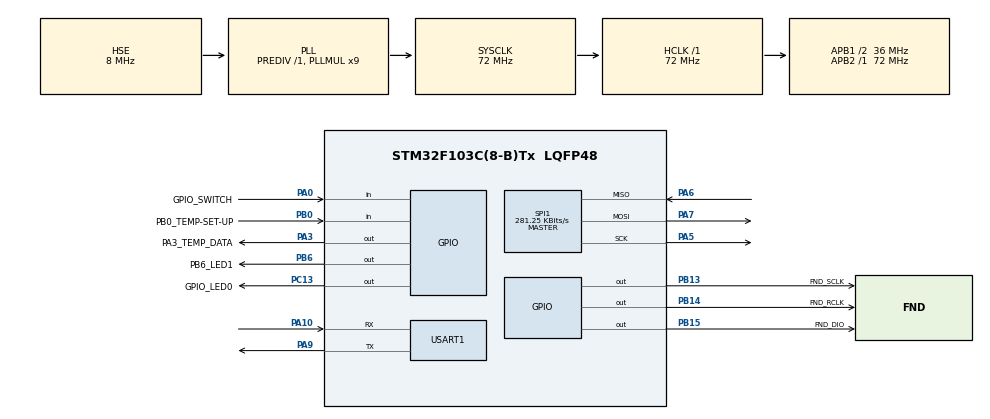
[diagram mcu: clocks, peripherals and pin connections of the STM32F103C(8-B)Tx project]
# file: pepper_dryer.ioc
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Mcu.Family=STM32F1
Mcu.Name=STM32F103C(8-B)Tx
Mcu.Package=LQFP48
NVIC.PriorityGroup=NVIC_PRIORITYGROUP_4
NVIC.TIM2_IRQn=true\:0\:0\:false\:false\:true\:true\:true\:true
PA0-WKUP.GPIO_Label=GPIO_SWITCH
PA0-WKUP.GPIO_PuPd=GPIO_PULLUP
PA0-WKUP.Signal=GPIO_Input
PA10.Mode=Asynchronous
PA10.Signal=USART1_RX
PA13.Mode=Serial_Wire
PA13.Signal=SYS_JTMS-SWDIO
PA14.Mode=Serial_Wire
PA14.Signal=SYS_JTCK-SWCLK
PA3.GPIO_Label=PA3_TEMP_DATA
PA3.GPIO_PuPd=GPIO_PULLUP
PA3.PinState=GPIO_PIN_SET
PA3.Signal=GPIO_Output
PA5.Mode=Full_Duplex_Master
PA5.Signal=SPI1_SCK
PA6.Mode=Full_Duplex_Master
PA6.Signal=SPI1_MISO
PA7.Mode=Full_Duplex_Master
PA7.Signal=SPI1_MOSI
PA9.Mode=Asynchronous
PA9.Signal=USART1_TX
PB0.GPIO_Label=PB0_TEMP-SET-UP
PB0.GPIO_PuPd=GPIO_PULLUP
PB0.Signal=GPIO_Input
PB13.GPIO_Label=FND_SCLK
PB13.GPIO_PuPd=GPIO_PULLUP
PB13.GPIO_Speed=GPIO_SPEED_FREQ_HIGH
PB13.PinState=GPIO_PIN_SET
PB13.Signal=GPIO_Output
PB14.GPIO_Label=FND_RCLK
PB14.GPIO_ModeDefaultOutputPP=GPIO_MODE_OUTPUT_PP
PB14.GPIO_PuPd=GPIO_PULLUP
PB14.GPIO_Speed=GPIO_SPEED_FREQ_HIGH
PB14.PinState=GPIO_PIN_SET
PB14.Signal=GPIO_Output
PB15.GPIO_Label=FND_DIO
PB15.GPIO_PuPd=GPIO_PULLUP
PB15.GPIO_Speed=GPIO_SPEED_FREQ_HIGH
PB15.PinState=GPIO_PIN_SET
PB15.Signal=GPIO_Output
PB6.GPIO_Label=PB6_LED1
PB6.GPIO_ModeDefaultOutputPP=GPIO_MODE_OUTPUT_PP
PB6.GPIO_PuPd=GPIO_PULLUP
PB6.PinState=GPIO_PIN_SET
PB6.Signal=GPIO_Output
PC13-TAMPER-RTC.GPIO_Label=GPIO_LED0
PC13-TAMPER-RTC.GPIO_ModeDefaultOutputPP=GPIO_MODE_OUTPUT_PP
PC13-TAMPER-RTC.GPIO_PuPd=GPIO_PULLDOWN
PC13-TAMPER-RTC.GPIO_Speed=GPIO_SPEED_FREQ_HIGH
PC13-TAMPER-RTC.PinState=GPIO_PIN_SET
PC13-TAMPER-RTC.Signal=GPIO_Output
PC14-OSC32_IN.Mode=LSE-External-Oscillator
PC14-OSC32_IN.Signal=RCC_OSC32_IN
PC15-OSC32_OUT.Mode=LSE-External-Oscillator
PC15-OSC32_OUT.Signal=RCC_OSC32_OUT
PD0-OSC_IN.Mode=HSE-External-Oscillator
PD0-OSC_IN.Signal=RCC_OSC_IN
PD1-OSC_OUT.Mode=HSE-External-Oscillator
PD1-OSC_OUT.Signal=RCC_OSC_OUT
ProjectManager.HeapSize=0x200
ProjectManager.StackSize=0x400
ProjectManager.TargetToolchain=STM32CubeIDE
RCC.AHBFreq_Value=72000000
RCC.APB1CLKDivider=RCC_HCLK_DIV2
RCC.APB1Freq_Value=36000000
RCC.APB1TimFreq_Value=72000000
RCC.APB2Freq_Value=72000000
RCC.APB2TimFreq_Value=72000000
RCC.HCLKFreq_Value=72000000
RCC.PLLMUL=RCC_PLL_MUL9
RCC.PLLSourceVirtual=RCC_PLLSOURCE_HSE
RCC.SYSCLKFreq_VALUE=72000000
RCC.SYSCLKSource=RCC_SYSCLKSOURCE_PLLCLK
RCC.USBFreq_Value=72000000
SPI1.BaudRatePrescaler=SPI_BAUDRATEPRESCALER_256
SPI1.CalculateBaudRate=281.25 KBits/s
SPI1.Direction=SPI_DIRECTION_2LINES
SPI1.Mode=SPI_MODE_MASTER
SPI1.VirtualType=VM_MASTER
TIM2.AutoReloadPreload=TIM_AUTORELOAD_PRELOAD_ENABLE
TIM2.Period=0xffff
TIM2.Prescaler=(72-1)
USART1.VirtualMode=VM_ASYNC
VP_TIM2_VS_ClockSourceINT.Mode=Internal
board=custom

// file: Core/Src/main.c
/* USER CODE BEGIN Header */
/**
  ******************************************************************************
  * @file           : main.c
  * @brief          : Main program body
  ******************************************************************************
  * @attention
  *
  * Copyright (c) 2024 STMicroelectronics.
  * All rights reserved.
  *
  * This software is licensed under terms that can be found in the LICENSE file
  * in the root directory of this software component.
  * If no LICENSE file comes with this software, it is provided AS-IS.
  *
  ******************************************************************************
  */
/* USER CODE END Header */
#include "main.h"

/* USER CODE BEGIN Includes */
#include <stdio.h>
#include "fnc_controller.h"
#include "ds18b20.h"
/* USER CODE END Includes */

SPI_HandleTypeDef hspi1;

TIM_HandleTypeDef htim2;

UART_HandleTypeDef huart1;

void SystemClock_Config(void);
static void MX_GPIO_Init(void);
static void MX_SPI1_Init(void);
static void MX_USART1_UART_Init(void);
static void MX_TIM2_Init(void);

/* USER CODE BEGIN 0 */

int _write(int file, char *p, int len){
	HAL_UART_Transmit(&huart1, (uint8_t *)p, len, 10);
	return len;
}

/* USER CODE END 0 */

int main(void)
{

  /* MCU Configuration--------------------------------------------------------*/

  /* Reset of all peripherals, Initializes the Flash interface and the Systick. */
  HAL_Init();

  /* Configure the system clock */
  SystemClock_Config();

  /* Initialize all configured peripherals */
  MX_GPIO_Init();
  MX_SPI1_Init();
  MX_USART1_UART_Init();
  MX_TIM2_Init();
  /* USER CODE BEGIN 2 */
  HAL_TIM_Base_Start_IT(&htim2);
  init_fnd();
  Ds18b20_Init();
  /* USER CODE END 2 */

  /* Infinite loop */
  /* USER CODE BEGIN WHILE */
  while (1)
  {
	/*
	// "CAFE"
	send_port(0x86,0b0001);
	send_port(0x8E,0b0010);
	send_port(0x88,0b0100);
	send_port(0xC6,0b1000);
	*/

	/*
	// 0-99
	for (int i = 0; i <= 99; i++) {
		digit2_replay(i, 0b0001, 50); //send counter 0-99 with delay 50 cicles int 1st and 2nd view ports
	}
	*/
	// 0-9999
	/*//
	for (int i = 0; i <= 9999; i++) {
		digit4_temperature(i,1);//send counter 0-9999 with delay 50 cicles and hide zero
	}
	//*/

	if(HAL_GPIO_ReadPin(PB0_TEMP_SET_UP_GPIO_Port, PB0_TEMP_SET_UP_Pin)){
		HAL_GPIO_WritePin(PB6_LED1_GPIO_Port, PB6_LED1_Pin, 1);
	}
	else{
		HAL_GPIO_WritePin(PB6_LED1_GPIO_Port, PB6_LED1_Pin, 0);
	}

	Ds18b20_ManualConvert();

	int temp = (int)ds18b20[0].Temperature;
	digit4_temperature(temp * 10,1,1);
    /* USER CODE END WHILE */

  }
}

void SystemClock_Config(void)
{
  RCC_OscInitTypeDef RCC_OscInitStruct = {0};
  RCC_ClkInitTypeDef RCC_ClkInitStruct = {0};

  /** Initializes the RCC Oscillators according to the specified parameters
  * in the RCC_OscInitTypeDef structure.
  */
  RCC_OscInitStruct.OscillatorType = RCC_OSCILLATORTYPE_HSE;
  RCC_OscInitStruct.HSEState = RCC_HSE_ON;
  RCC_OscInitStruct.HSEPredivValue = RCC_HSE_PREDIV_DIV1;
  RCC_OscInitStruct.HSIState = RCC_HSI_ON;
  RCC_OscInitStruct.PLL.PLLState = RCC_PLL_ON;
  RCC_OscInitStruct.PLL.PLLSource = RCC_PLLSOURCE_HSE;
  RCC_OscInitStruct.PLL.PLLMUL = RCC_PLL_MUL9;
  if (HAL_RCC_OscConfig(&RCC_OscInitStruct) != HAL_OK)
  {
    Error_Handler();
  }

  /** Initializes the CPU, AHB and APB buses clocks
  */
  RCC_ClkInitStruct.ClockType = RCC_CLOCKTYPE_HCLK|RCC_CLOCKTYPE_SYSCLK
                              |RCC_CLOCKTYPE_PCLK1|RCC_CLOCKTYPE_PCLK2;
  RCC_ClkInitStruct.SYSCLKSource = RCC_SYSCLKSOURCE_PLLCLK;
  RCC_ClkInitStruct.AHBCLKDivider = RCC_SYSCLK_DIV1;
  RCC_ClkInitStruct.APB1CLKDivider = RCC_HCLK_DIV2;
  RCC_ClkInitStruct.APB2CLKDivider = RCC_HCLK_DIV1;

  if (HAL_RCC_ClockConfig(&RCC_ClkInitStruct, FLASH_LATENCY_2) != HAL_OK)
  {
    Error_Handler();
  }
}

static void MX_SPI1_Init(void)
{

  /* SPI1 parameter configuration*/
  hspi1.Instance = SPI1;
  hspi1.Init.Mode = SPI_MODE_MASTER;
  hspi1.Init.Direction = SPI_DIRECTION_2LINES;
  hspi1.Init.DataSize = SPI_DATASIZE_8BIT;
  hspi1.Init.CLKPolarity = SPI_POLARITY_LOW;
  hspi1.Init.CLKPhase = SPI_PHASE_1EDGE;
  hspi1.Init.NSS = SPI_NSS_SOFT;
  hspi1.Init.BaudRatePrescaler = SPI_BAUDRATEPRESCALER_256;
  hspi1.Init.FirstBit = SPI_FIRSTBIT_MSB;
  hspi1.Init.TIMode = SPI_TIMODE_DISABLE;
  hspi1.Init.CRCCalculation = SPI_CRCCALCULATION_DISABLE;
  hspi1.Init.CRCPolynomial = 10;
  if (HAL_SPI_Init(&hspi1) != HAL_OK)
  {
    Error_Handler();
  }

}

static void MX_TIM2_Init(void)
{

  TIM_ClockConfigTypeDef sClockSourceConfig = {0};
  TIM_MasterConfigTypeDef sMasterConfig = {0};

  htim2.Instance = TIM2;
  htim2.Init.Prescaler = (72-1);
  htim2.Init.CounterMode = TIM_COUNTERMODE_UP;
  htim2.Init.Period = 0xffff;
  htim2.Init.ClockDivision = TIM_CLOCKDIVISION_DIV1;
  htim2.Init.AutoReloadPreload = TIM_AUTORELOAD_PRELOAD_ENABLE;
  if (HAL_TIM_Base_Init(&htim2) != HAL_OK)
  {
    Error_Handler();
  }
  sClockSourceConfig.ClockSource = TIM_CLOCKSOURCE_INTERNAL;
  if (HAL_TIM_ConfigClockSource(&htim2, &sClockSourceConfig) != HAL_OK)
  {
    Error_Handler();
  }
  sMasterConfig.MasterOutputTrigger = TIM_TRGO_RESET;
  sMasterConfig.MasterSlaveMode = TIM_MASTERSLAVEMODE_DISABLE;
  if (HAL_TIMEx_MasterConfigSynchronization(&htim2, &sMasterConfig) != HAL_OK)
  {
    Error_Handler();
  }

}

static void MX_USART1_UART_Init(void)
{

  huart1.Instance = USART1;
  huart1.Init.BaudRate = 115200;
  huart1.Init.WordLength = UART_WORDLENGTH_8B;
  huart1.Init.StopBits = UART_STOPBITS_1;
  huart1.Init.Parity = UART_PARITY_NONE;
  huart1.Init.Mode = UART_MODE_TX_RX;
  huart1.Init.HwFlowCtl = UART_HWCONTROL_NONE;
  huart1.Init.OverSampling = UART_OVERSAMPLING_16;
  if (HAL_UART_Init(&huart1) != HAL_OK)
  {
    Error_Handler();
  }

}

static void MX_GPIO_Init(void)
{
  GPIO_InitTypeDef GPIO_InitStruct = {0};

  /* GPIO Ports Clock Enable */
  __HAL_RCC_GPIOC_CLK_ENABLE();
  __HAL_RCC_GPIOD_CLK_ENABLE();
  __HAL_RCC_GPIOA_CLK_ENABLE();
  __HAL_RCC_GPIOB_CLK_ENABLE();

  /*Configure GPIO pin Output Level */
  HAL_GPIO_WritePin(GPIO_LED0_GPIO_Port, GPIO_LED0_Pin, GPIO_PIN_SET);

  /*Configure GPIO pin Output Level */
  HAL_GPIO_WritePin(PA3_TEMP_DATA_GPIO_Port, PA3_TEMP_DATA_Pin, GPIO_PIN_SET);

  /*Configure GPIO pin Output Level */
  HAL_GPIO_WritePin(GPIOB, FND_SCLK_Pin|FND_RCLK_Pin|FND_DIO_Pin|PB6_LED1_Pin, GPIO_PIN_SET);

  /*Configure GPIO pin : GPIO_LED0_Pin */
  GPIO_InitStruct.Pin = GPIO_LED0_Pin;
  GPIO_InitStruct.Mode = GPIO_MODE_OUTPUT_PP;
  GPIO_InitStruct.Pull = GPIO_PULLDOWN;
  GPIO_InitStruct.Speed = GPIO_SPEED_FREQ_HIGH;
  HAL_GPIO_Init(GPIO_LED0_GPIO_Port, &GPIO_InitStruct);

  /*Configure GPIO pin : GPIO_SWITCH_Pin */
  GPIO_InitStruct.Pin = GPIO_SWITCH_Pin;
  GPIO_InitStruct.Mode = GPIO_MODE_INPUT;
  GPIO_InitStruct.Pull = GPIO_PULLUP;
  HAL_GPIO_Init(GPIO_SWITCH_GPIO_Port, &GPIO_InitStruct);

  /*Configure GPIO pin : PA3_TEMP_DATA_Pin */
  GPIO_InitStruct.Pin = PA3_TEMP_DATA_Pin;
  GPIO_InitStruct.Mode = GPIO_MODE_OUTPUT_PP;
  GPIO_InitStruct.Pull = GPIO_PULLUP;
  GPIO_InitStruct.Speed = GPIO_SPEED_FREQ_LOW;
  HAL_GPIO_Init(PA3_TEMP_DATA_GPIO_Port, &GPIO_InitStruct);

  /*Configure GPIO pin : PB0_TEMP_SET_UP_Pin */
  GPIO_InitStruct.Pin = PB0_TEMP_SET_UP_Pin;
  GPIO_InitStruct.Mode = GPIO_MODE_INPUT;
  GPIO_InitStruct.Pull = GPIO_PULLUP;
  HAL_GPIO_Init(PB0_TEMP_SET_UP_GPIO_Port, &GPIO_InitStruct);

  /*Configure GPIO pins : FND_SCLK_Pin FND_RCLK_Pin FND_DIO_Pin */
  GPIO_InitStruct.Pin = FND_SCLK_Pin|FND_RCLK_Pin|FND_DIO_Pin;
  GPIO_InitStruct.Mode = GPIO_MODE_OUTPUT_PP;
  GPIO_InitStruct.Pull = GPIO_PULLUP;
  GPIO_InitStruct.Speed = GPIO_SPEED_FREQ_HIGH;
  HAL_GPIO_Init(GPIOB, &GPIO_InitStruct);

  /*Configure GPIO pin : PB6_LED1_Pin */
  GPIO_InitStruct.Pin = PB6_LED1_Pin;
  GPIO_InitStruct.Mode = GPIO_MODE_OUTPUT_PP;
  GPIO_InitStruct.Pull = GPIO_PULLUP;
  GPIO_InitStruct.Speed = GPIO_SPEED_FREQ_LOW;
  HAL_GPIO_Init(PB6_LED1_GPIO_Port, &GPIO_InitStruct);

}

void Error_Handler(void)
{
  __disable_irq();
  while (1)
  {
  }
}
